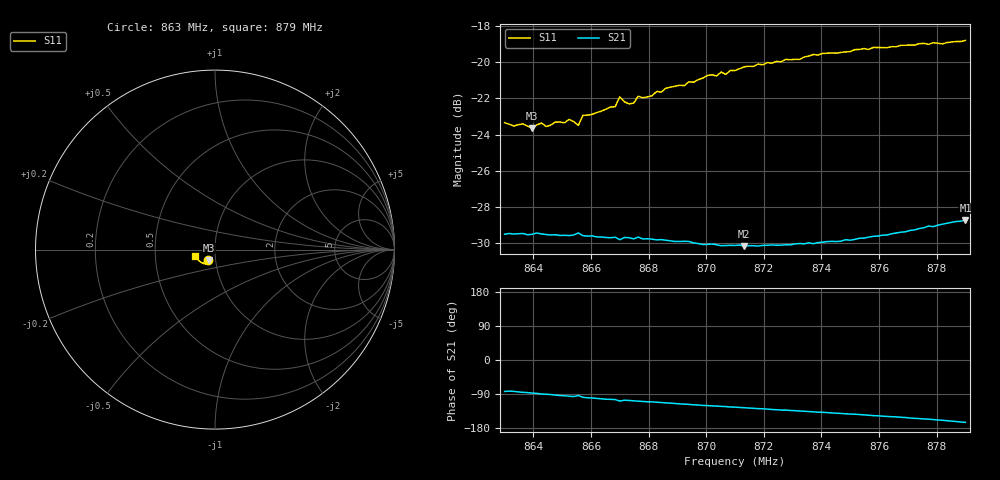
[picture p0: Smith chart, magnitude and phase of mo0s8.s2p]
# HZ S RI R 50
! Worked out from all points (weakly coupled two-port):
!   101 points, 863 MHz to 879 MHz, reference 50 ohm
!   highest |S21| = -28.72 dB at 879 MHz (marker M1); lowest = -30.2 dB at 871.32 MHz (marker M2)
!   lowest |S11| = -23.6 dB at 863.96 MHz (marker M3), VSWR 1.14, Z = 46.6 - j5.39 ohm
!   |S11| at or under -10 dB: start of sweep to end of sweep
!   S12 and S22 are empty: the file has one direction only
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8.63e8  -0.0367 -0.0572  0.00407 -0.0332  0 0  0 0
8.6364e8  -0.0332 -0.0588  0.00279 -0.0335  0 0  0 0
8.6396e8  -0.0318 -0.0575  0.00153 -0.0334  0 0  0 0
8.6428e8  -0.0317 -0.06  0.000173 -0.0335  0 0  0 0
8.6444e8  -0.0304 -0.059  -0.000157 -0.0334  0 0  0 0
8.6524e8  -0.0302 -0.0625  -0.00318 -0.033  0 0  0 0
8.6556e8  -0.024 -0.0624  -0.00215 -0.0337  0 0  0 0
8.6572e8  -0.0296 -0.0649  -0.00489 -0.0328  0 0  0 0
8.6684e8  -0.0306 -0.0688  -0.00822 -0.0318  0 0  0 0
8.67e8  -0.0373 -0.071  -0.0102 -0.0307  0 0  0 0
8.6732e8  -0.0321 -0.0696  -0.00945 -0.0313  0 0  0 0
8.6748e8  -0.0307 -0.0706  -0.00992 -0.0309  0 0  0 0
8.6764e8  -0.0346 -0.0727  -0.0105 -0.0311  0 0  0 0
8.678e8  -0.034 -0.0721  -0.0108 -0.0306  0 0  0 0
8.6844e8  -0.0368 -0.0741  -0.0122 -0.0299  0 0  0 0
8.7004e8  -0.0473 -0.0787  -0.0158 -0.0271  0 0  0 0
8.71e8  -0.0539 -0.078  -0.0176 -0.0257  0 0  0 0
8.7132e8  -0.0557 -0.0795  -0.0182 -0.0251  0 0  0 0
8.7324e8  -0.0702 -0.0736  -0.0222 -0.0225  0 0  0 0
8.7372e8  -0.0752 -0.0733  -0.0229 -0.0216  0 0  0 0
8.7644e8  -0.0944 -0.0571  -0.029 -0.017  0 0  0 0
8.79e8  -0.1092 -0.0353  -0.0353 -0.0098  0 0  0 0
